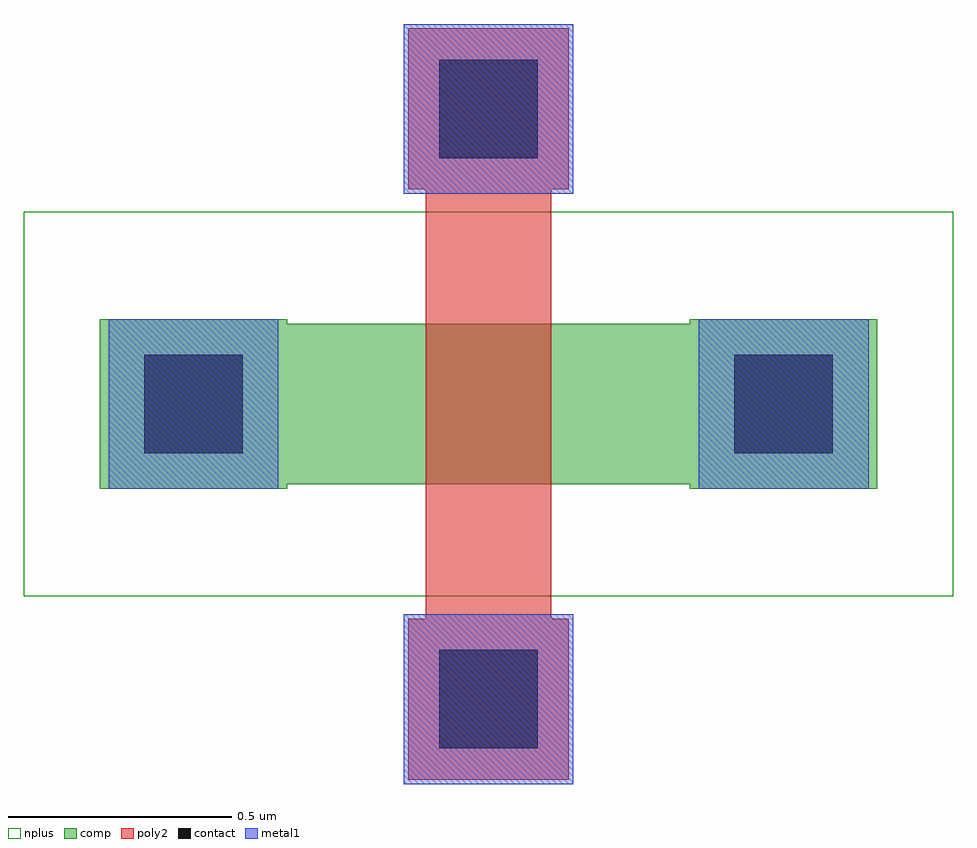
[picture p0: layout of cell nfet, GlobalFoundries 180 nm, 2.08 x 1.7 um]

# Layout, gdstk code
import gdstk
lib = gdstk.Library(unit=1e-6, precision=5e-09)
def R(c, l, rs):  # rectangles x0, y0, x1, y1
    for r in rs: c.add(gdstk.rectangle(r[:2], r[2:], *l))
comp = (22, 0)
poly2 = (30, 0)
nplus = (32, 0)
contact = (33, 0)
metal1 = (34, 0)

nfet = lib.new_cell('nfet')
R(nfet, comp, [(-0.42,-0.01,0,0.37), (0.9,-0.01,1.32,0.37), (0,0,0.9,0.36)])
R(nfet, poly2, [(0.27,-0.66,0.63,-0.3), (0.31,-0.3,0.59,0.66), (0.27,0.66,0.63,1.02)])
R(nfet, nplus, [(-0.59,-0.25,1.49,0.61)])
R(nfet, contact, [(0.34,-0.59,0.56,-0.37), (-0.32,0.07,-0.1,0.29), (1,0.07,1.22,0.29), (0.34,0.73,0.56,0.95)])
R(nfet, metal1, [(0.26,-0.67,0.64,-0.29), (-0.4,-0.01,-0.02,0.37), (0.92,-0.01,1.3,0.37), (0.26,0.65,0.64,1.03)])

lib.write_gds('nfet.gds')
